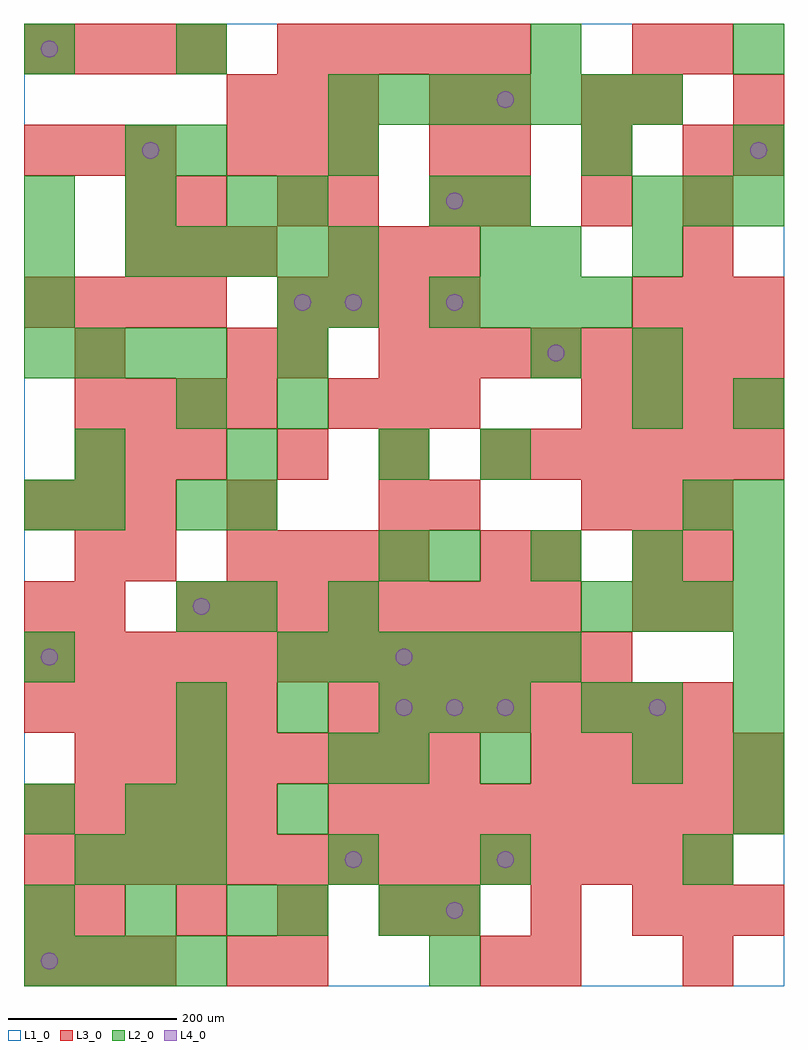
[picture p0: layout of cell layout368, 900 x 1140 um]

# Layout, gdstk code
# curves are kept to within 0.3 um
import gdstk
lib = gdstk.Library(unit=1e-6, precision=1e-09)
def R(c, l, rs):  # rectangles x0, y0, x1, y1
    for r in rs: c.add(gdstk.rectangle(r[:2], r[2:], *l))
def A(c, l, x, y, w, h, nx, ny, dx, dy):  # array of equal rectangles
    R(c, l, [(x+i*dx, y+j*dy, x+i*dx+w, y+j*dy+h) for i in range(nx) for j in range(ny)])
def P(c, l, *ps):  # polygons
    for p in ps: c.add(gdstk.Polygon(p, *l))
L1_0 = (1, 0)
L2_0 = (2, 0)
L3_0 = (3, 0)
L4_0 = (4, 0)

layout368 = lib.new_cell('layout368')
R(layout368, L1_0, [(0,0,900,1140)])
A(layout368, L2_0, 0, 0, 60, 60, 4, 2, 60, 720)
A(layout368, L2_0, 0, 60, 60, 60, 3, 2, 120, 840)
A(layout368, L2_0, 60, 120, 60, 60, 3, 1, 60, 0)
A(layout368, L2_0, 0, 180, 60, 60, 1, 3, 0, 180)
A(layout368, L2_0, 840, 180, 60, 60, 1, 4, 0, 60)
A(layout368, L2_0, 180, 300, 60, 60, 3, 1, 120, 0)
A(layout368, L2_0, 300, 360, 60, 60, 6, 1, 60, 0)
A(layout368, L2_0, 180, 420, 60, 60, 1, 3, 0, 120)
A(layout368, L2_0, 660, 420, 60, 60, 4, 1, 60, 0)
A(layout368, L2_0, 480, 480, 60, 60, 4, 1, 120, 0)
A(layout368, L2_0, 60, 600, 60, 60, 3, 1, 180, 0)
A(layout368, L2_0, 300, 660, 60, 60, 1, 3, 0, 60)
A(layout368, L2_0, 480, 780, 60, 60, 4, 1, 60, 0)
A(layout368, L2_0, 120, 840, 60, 60, 5, 1, 60, 0)
A(layout368, L2_0, 720, 900, 60, 60, 3, 1, 60, 0)
A(layout368, L2_0, 360, 1020, 60, 60, 7, 1, 60, 0)
R(layout368, L2_0, [(480,0,540,60), (300,60,360,120), (420,60,480,120), (480,60,540,120), (360,120,420,180), (540,120,600,180), (780,120,840,180), (120,180,180,240), (180,180,240,240), (300,180,360,240), (180,240,240,300), (360,240,420,300), (420,240,480,300), (540,240,600,300), (720,240,780,300), (480,300,540,360), (540,300,600,360), (660,300,720,360), (720,300,780,360), (240,420,300,480), (360,420,420,480), (420,480,480,540), (60,540,120,600), (240,540,300,600), (780,540,840,600), (840,540,900,600), (540,600,600,660), (720,660,780,720), (840,660,900,720), (600,720,660,780), (720,720,780,780), (0,780,60,840), (360,780,420,840), (0,840,60,900), (540,840,600,900), (600,840,660,900), (720,840,780,900), (300,900,360,960), (480,900,540,960), (540,900,600,960), (120,960,180,1020), (180,960,240,1020), (360,960,420,1020), (660,960,720,1020), (840,960,900,1020), (0,1080,60,1140), (180,1080,240,1140), (600,1080,660,1140), (840,1080,900,1140)])
A(layout368, L3_0, 0, 0, 60, 60, 3, 2, 60, 540)
A(layout368, L3_0, 60, 60, 60, 60, 4, 1, 120, 0)
A(layout368, L3_0, 480, 60, 60, 60, 3, 1, 120, 0)
A(layout368, L3_0, 0, 120, 60, 60, 14, 1, 60, 0)
A(layout368, L3_0, 0, 180, 60, 60, 5, 2, 60, 120)
A(layout368, L3_0, 360, 180, 60, 60, 9, 1, 60, 0)
A(layout368, L3_0, 60, 240, 60, 60, 8, 1, 60, 0)
A(layout368, L3_0, 600, 240, 60, 60, 5, 2, 60, 360)
A(layout368, L3_0, 360, 300, 60, 60, 8, 1, 60, 0)
A(layout368, L3_0, 0, 360, 60, 60, 12, 1, 60, 0)
A(layout368, L3_0, 180, 420, 60, 60, 8, 1, 60, 0)
A(layout368, L3_0, 240, 480, 60, 60, 4, 1, 60, 0)
A(layout368, L3_0, 660, 540, 60, 60, 3, 1, 60, 0)
A(layout368, L3_0, 60, 600, 60, 60, 3, 1, 60, 0)
A(layout368, L3_0, 300, 600, 60, 60, 3, 1, 120, 0)
A(layout368, L3_0, 60, 660, 60, 60, 4, 1, 60, 0)
A(layout368, L3_0, 360, 660, 60, 60, 3, 2, 60, 180)
A(layout368, L3_0, 660, 660, 60, 60, 4, 1, 60, 0)
A(layout368, L3_0, 420, 720, 60, 60, 8, 1, 60, 0)
A(layout368, L3_0, 0, 780, 60, 60, 4, 2, 60, 300)
A(layout368, L3_0, 300, 780, 60, 60, 4, 1, 60, 0)
A(layout368, L3_0, 720, 780, 60, 60, 3, 1, 60, 0)
A(layout368, L3_0, 120, 840, 60, 60, 3, 1, 60, 0)
A(layout368, L3_0, 480, 900, 60, 60, 1, 3, 0, 60)
A(layout368, L3_0, 540, 900, 60, 60, 3, 2, 120, 60)
A(layout368, L3_0, 0, 960, 60, 60, 3, 1, 60, 0)
A(layout368, L3_0, 240, 960, 60, 60, 3, 2, 60, 60)
A(layout368, L3_0, 300, 1080, 60, 60, 5, 1, 60, 0)
R(layout368, L3_0, [(240,0,300,60), (300,0,360,60), (540,0,600,60), (600,0,660,60), (780,0,840,60), (0,60,60,120), (780,60,840,120), (840,60,900,120), (0,420,60,480), (60,420,120,480), (720,420,780,480), (780,420,840,480), (60,480,120,540), (120,480,180,540), (540,480,600,540), (600,480,660,540), (720,480,780,540), (780,480,840,540), (240,540,300,600), (420,540,480,600), (480,540,540,600), (60,720,120,780), (240,720,300,780), (300,720,360,780), (780,840,840,900), (120,900,180,960), (180,900,240,960), (300,900,360,960), (360,900,420,960), (840,960,900,1020), (540,1020,600,1080), (660,1020,720,1080), (720,1020,780,1080), (840,1020,900,1080), (720,1080,780,1140), (780,1080,840,1140)])
P(layout368, L4_0, [(40,30),(39.239,33.827),(37.071,37.071),(33.827,39.239),(30,40),(26.173,39.239),(22.929,37.071),(20.761,33.827),(20,30),(20.761,26.173),(22.929,22.929),(26.173,20.761),(30,20),(33.827,20.761),(37.071,22.929),(39.239,26.173)],
  [(40,390),(39.239,393.827),(37.071,397.071),(33.827,399.239),(30,400),(26.173,399.239),(22.929,397.071),(20.761,393.827),(20,390),(20.761,386.173),(22.929,382.929),(26.173,380.761),(30,380),(33.827,380.761),(37.071,382.929),(39.239,386.173)],
  [(40,1110),(39.239,1113.827),(37.071,1117.071),(33.827,1119.239),(30,1120),(26.173,1119.239),(22.929,1117.071),(20.761,1113.827),(20,1110),(20.761,1106.173),(22.929,1102.929),(26.173,1100.761),(30,1100),(33.827,1100.761),(37.071,1102.929),(39.239,1106.173)],
  [(160,990),(159.239,993.827),(157.071,997.071),(153.827,999.239),(150,1000),(146.173,999.239),(142.929,997.071),(140.761,993.827),(140,990),(140.761,986.173),(142.929,982.929),(146.173,980.761),(150,980),(153.827,980.761),(157.071,982.929),(159.239,986.173)],
  [(220,450),(219.239,453.827),(217.071,457.071),(213.827,459.239),(210,460),(206.173,459.239),(202.929,457.071),(200.761,453.827),(200,450),(200.761,446.173),(202.929,442.929),(206.173,440.761),(210,440),(213.827,440.761),(217.071,442.929),(219.239,446.173)],
  [(340,810),(339.239,813.827),(337.071,817.071),(333.827,819.239),(330,820),(326.173,819.239),(322.929,817.071),(320.761,813.827),(320,810),(320.761,806.173),(322.929,802.929),(326.173,800.761),(330,800),(333.827,800.761),(337.071,802.929),(339.239,806.173)],
  [(400,150),(399.239,153.827),(397.071,157.071),(393.827,159.239),(390,160),(386.173,159.239),(382.929,157.071),(380.761,153.827),(380,150),(380.761,146.173),(382.929,142.929),(386.173,140.761),(390,140),(393.827,140.761),(397.071,142.929),(399.239,146.173)],
  [(400,810),(399.239,813.827),(397.071,817.071),(393.827,819.239),(390,820),(386.173,819.239),(382.929,817.071),(380.761,813.827),(380,810),(380.761,806.173),(382.929,802.929),(386.173,800.761),(390,800),(393.827,800.761),(397.071,802.929),(399.239,806.173)],
  [(460,330),(459.239,333.827),(457.071,337.071),(453.827,339.239),(450,340),(446.173,339.239),(442.929,337.071),(440.761,333.827),(440,330),(440.761,326.173),(442.929,322.929),(446.173,320.761),(450,320),(453.827,320.761),(457.071,322.929),(459.239,326.173)],
  [(460,390),(459.239,393.827),(457.071,397.071),(453.827,399.239),(450,400),(446.173,399.239),(442.929,397.071),(440.761,393.827),(440,390),(440.761,386.173),(442.929,382.929),(446.173,380.761),(450,380),(453.827,380.761),(457.071,382.929),(459.239,386.173)],
  [(520,90),(519.239,93.827),(517.071,97.071),(513.827,99.239),(510,100),(506.173,99.239),(502.929,97.071),(500.761,93.827),(500,90),(500.761,86.173),(502.929,82.929),(506.173,80.761),(510,80),(513.827,80.761),(517.071,82.929),(519.239,86.173)],
  [(520,330),(519.239,333.827),(517.071,337.071),(513.827,339.239),(510,340),(506.173,339.239),(502.929,337.071),(500.761,333.827),(500,330),(500.761,326.173),(502.929,322.929),(506.173,320.761),(510,320),(513.827,320.761),(517.071,322.929),(519.239,326.173)],
  [(520,810),(519.239,813.827),(517.071,817.071),(513.827,819.239),(510,820),(506.173,819.239),(502.929,817.071),(500.761,813.827),(500,810),(500.761,806.173),(502.929,802.929),(506.173,800.761),(510,800),(513.827,800.761),(517.071,802.929),(519.239,806.173)],
  [(520,930),(519.239,933.827),(517.071,937.071),(513.827,939.239),(510,940),(506.173,939.239),(502.929,937.071),(500.761,933.827),(500,930),(500.761,926.173),(502.929,922.929),(506.173,920.761),(510,920),(513.827,920.761),(517.071,922.929),(519.239,926.173)],
  [(580,150),(579.239,153.827),(577.071,157.071),(573.827,159.239),(570,160),(566.173,159.239),(562.929,157.071),(560.761,153.827),(560,150),(560.761,146.173),(562.929,142.929),(566.173,140.761),(570,140),(573.827,140.761),(577.071,142.929),(579.239,146.173)],
  [(580,330),(579.239,333.827),(577.071,337.071),(573.827,339.239),(570,340),(566.173,339.239),(562.929,337.071),(560.761,333.827),(560,330),(560.761,326.173),(562.929,322.929),(566.173,320.761),(570,320),(573.827,320.761),(577.071,322.929),(579.239,326.173)],
  [(580,1050),(579.239,1053.827),(577.071,1057.071),(573.827,1059.239),(570,1060),(566.173,1059.239),(562.929,1057.071),(560.761,1053.827),(560,1050),(560.761,1046.173),(562.929,1042.929),(566.173,1040.761),(570,1040),(573.827,1040.761),(577.071,1042.929),(579.239,1046.173)],
  [(640,750),(639.239,753.827),(637.071,757.071),(633.827,759.239),(630,760),(626.173,759.239),(622.929,757.071),(620.761,753.827),(620,750),(620.761,746.173),(622.929,742.929),(626.173,740.761),(630,740),(633.827,740.761),(637.071,742.929),(639.239,746.173)],
  [(760,330),(759.239,333.827),(757.071,337.071),(753.827,339.239),(750,340),(746.173,339.239),(742.929,337.071),(740.761,333.827),(740,330),(740.761,326.173),(742.929,322.929),(746.173,320.761),(750,320),(753.827,320.761),(757.071,322.929),(759.239,326.173)],
  [(880,990),(879.239,993.827),(877.071,997.071),(873.827,999.239),(870,1000),(866.173,999.239),(862.929,997.071),(860.761,993.827),(860,990),(860.761,986.173),(862.929,982.929),(866.173,980.761),(870,980),(873.827,980.761),(877.071,982.929),(879.239,986.173)])

lib.write_gds('layout368.gds')
